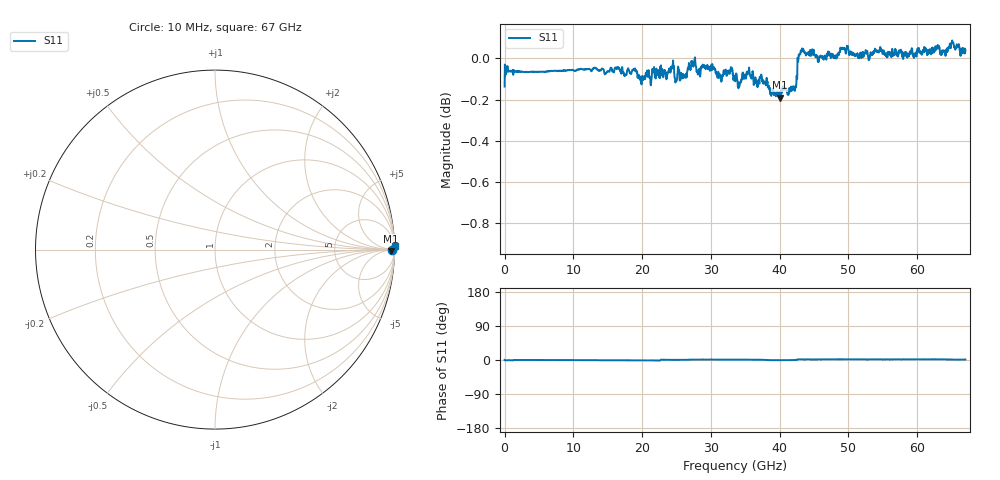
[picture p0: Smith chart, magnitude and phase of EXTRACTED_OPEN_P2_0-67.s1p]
! Generated by Phase I extraction
# Hz S RI R 50
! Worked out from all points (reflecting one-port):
!   1601 points, 10 MHz to 67 GHz, reference 50 ohm
!   lowest |S11| = -0.2 dB at 40.04 GHz (marker M1), VSWR 90.83, Z = 3.93e+03 - j1.55e+03 ohm
!   phase of S11 starts at -0 deg and turns +1 deg over the sweep
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1e7  0.9844 -0.000492
9.311125e8  0.9931 -0.0109
1.68475e9  0.9927 0.000746
8.38375e9  0.9931 -0.00389
1.67575e10  0.9933 -0.0158
1.993952e10  0.9856 -0.0171
2.228418e10  0.9904 -0.0221
2.307968e10  0.9894 0.0117
2.513125e10  0.9913 0.00462
2.61361e10  0.9902 0.0047
2.743403e10  0.9953 0.0185
2.848075e10  0.991 0.0218
3.3505e10  0.9885 0.0146
3.450985e10  0.9882 0.0211
3.706384e10  0.9858 0.0142
3.878046e10  0.9792 -0.00703
4.003652e10  0.9782 -0.00853
4.116698e10  0.9798 -0.0105
4.187875e10  0.9829 -0.00336
4.22137e10  0.982 -0.000238
4.296734e10  1.002 0.0307
4.853588e10  1.002 0.0317
5.02525e10  1.002 0.0291
5.862625e10  1.002 0.0316
6.239444e10  1.003 0.032
6.423666e10  1.005 0.0285
6.536712e10  1.006 0.0186
6.7e10  1.004 0.0211
